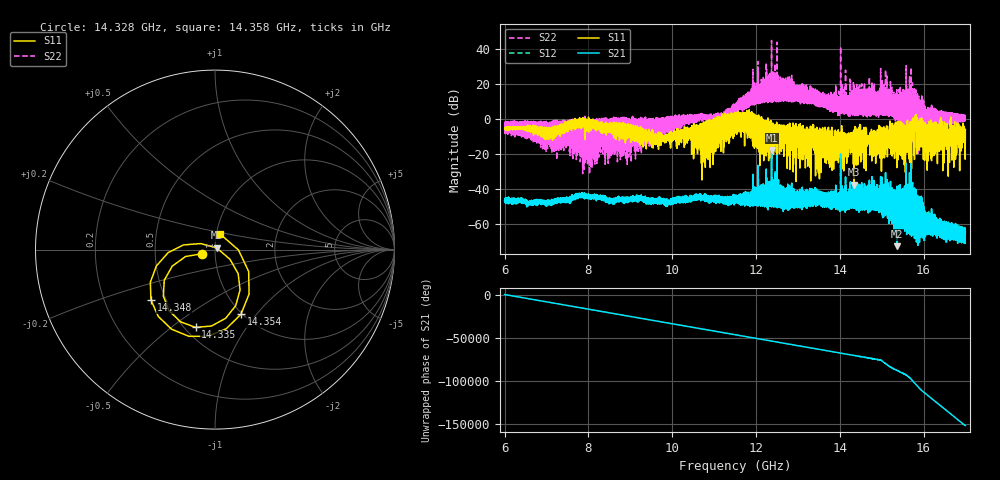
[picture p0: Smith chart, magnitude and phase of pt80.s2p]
#  HZ  S  RI  R  50.00
! Rohde & Schwarz Vector Network Analyzer
! Rohde-Schwarz,ZNA67-2Port,1332450062101215,3.01
! Created: UTC 10/19/2026, 9:46:32 AM
! freq[Hz]  re:S11  im:S11  re:S21  im:S21  re:S12  im:S12  re:S22  im:S22
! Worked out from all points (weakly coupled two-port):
!   11001 points, 6 GHz to 17 GHz, reference 50 ohm
!   highest |S21| = -17.69 dB at 12.373 GHz (marker M1); lowest = -72.8 dB at 15.365 GHz (marker M2)
!   lowest |S11| = -37.6 dB at 14.342 GHz (marker M3), VSWR 1.03, Z = 50.8 + j1.02 ohm
!   |S11| at or under -10 dB: 9.797358 GHz to 9.828176 GHz (30.82 MHz wide, 0.314 % of centre); 13.82928 GHz to 13.88991 GHz (60.63 MHz wide, 0.437 % of centre); 16.58785 GHz to 16.62223 GHz (34.38 MHz wide, 0.207 % of centre) (the widest 3 of 582)
!   |S22| runs from -31.6 to 45.0 dB; largest |S21 - S12| = 0.022
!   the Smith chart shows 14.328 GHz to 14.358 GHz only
!   S11 on the Smith chart (normalised r, x): 14.328 GHz: 0.86, -0.04; 14.335 GHz: 0.57, -0.61; 14.348 GHz: 0.41, -0.29; 14.354 GHz: 0.99, -0.84; 14.358 GHz: 1.04, +0.19
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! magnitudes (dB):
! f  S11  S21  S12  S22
! 6 GHz  -5.6  -46.6  -46.6  -4.9
! 7.09 GHz  -5.7  -47.2  -47.2  -3.1
! 7.834 GHz  -2.8  -43.1  -43.0  -1.3
! 9.667 GHz  -7.5  -46.9  -47.2  0.3
! 10.738 GHz  -2.4  -45.2  -45.3  1.4
! 11.5 GHz  3.7  -46.1  -46.0  5.7
! 11.799 GHz  -8.1  -43.6  -43.5  14.2
! 12.373 GHz  -18.3  -17.7  -17.4  45.0
! 13.334 GHz  -11.5  -46.1  -45.9  11.4
! 13.885 GHz  -17.4  -50.0  -49.9  3.9
! 14.328 GHz  -22.2  -50.0  -49.9  4.9
! 14.335 GHz  -7.0  -47.1  -47.0  6.9
! 14.342 GHz  -37.6  -49.4  -49.4  2.6
! 14.348 GHz  -6.9  -48.5  -48.3  4.8
! 14.354 GHz  -8.2  -50.7  -50.7  2.1
! 14.358 GHz  -20.7  -44.9  -44.6  6.6
! 15.167 GHz  -10.4  -47.9  -47.6  7.7
! 15.365 GHz  -14.1  -72.8  -72.6  -0.2
! 15.677 GHz  -2.3  -50.0  -49.8  4.9
! 15.786 GHz  -7.5  -68.2  -68.5  -16.7
! 16.051 GHz  -5.6  -56.0  -55.5  3.7
! 17 GHz  -6.0  -65.3  -65.8  1.7
